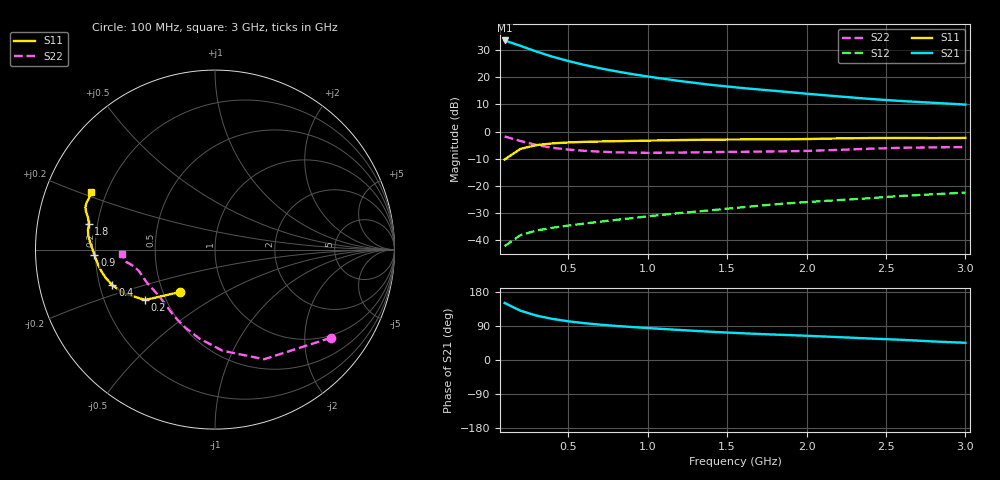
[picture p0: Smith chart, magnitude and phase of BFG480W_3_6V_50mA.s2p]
! Filename: 3_650BFG480.001
! Title: BFG480W
! Bias: Vce=3.6V; Ic=50mA
! Company: Philips Semiconductors NL
! User: Quality&Reliability T&D
! Measure time: 10 Nov 1999 / 11:59:58
#  MHz  S  MA  R 50
! Freq  S11  S21  S12  S22  :
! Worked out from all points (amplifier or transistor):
!   20 points, 100 MHz to 3 GHz, reference 50 ohm
!   highest |S21| = 33.6 dB at 100 MHz (marker M1)
!   |S21| within 3 dB of that: start of sweep to 247.9 MHz
!   unconditionally stable (mu >= 1): 955.4 MHz to end of sweep
!   at 400 MHz: K = 0.64, MSG = 31.6 dB, |S12| = -35.5 dB
!   at 1.2 GHz: K = 1.05, MAG = 23.0 dB, |S12| = -30.1 dB
!   at 3 GHz: K = 1.06, MAG = 14.7 dB, |S12| = -22.5 dB
!   S11 on the Smith chart (normalised r, x): 100 MHz: 0.61, -0.32; 200 MHz: 0.38, -0.28; 400 MHz: 0.25, -0.16; 900 MHz: 0.20, -0.02; 1.8 GHz: 0.17, +0.10; 3 GHz: 0.14, +0.22
100  0.305 -129.3  48.12 150.4  0.007661 67.0  0.8119 -37.2
200  0.4795 -144.2  38.24 130.1  0.01226 56.9  0.6694 -65.8
300  0.5623 -154.2  30.04 117.2  0.01486 53.2  0.5653 -85.7
400  0.6047 -160.8  24.19 108.5  0.01674 52.6  0.503 -100.0
500  0.6298 -165.6  20.09 102.2  0.01837 53.7  0.4654 -110.7
600  0.6453 -169.4  17.05 97.2  0.01996 55.4  0.4416 -118.8
700  0.6558 -172.4  14.78 93.3  0.02166 57.6  0.4255 -125.2
800  0.6641 -175.1  12.99 89.9  0.0234 59.5  0.4147 -130.6
900  0.6725 -177.5  11.55 87.0  0.0252 61.6  0.4083 -135.2
1000  0.6809 -179.7  10.39 84.3  0.02722 63.2  0.4057 -139.4
1200  0.6974 176.7  8.594 79.3  0.03124 66.0  0.4092 -146.3
1400  0.7097 174.0  7.285 74.4  0.03534 68.0  0.4176 -151.5
1600  0.716 171.4  6.354 70.5  0.04017 69.7  0.4234 -155.4
1800  0.7171 168.6  5.65 67.0  0.0454 71.0  0.4298 -159.4
2000  0.7279 166.1  5.002 64.0  0.04992 72.3  0.4395 -164.0
2200  0.7477 163.8  4.465 60.4  0.05423 72.7  0.4586 -168.0
2400  0.76 161.9  4.005 56.7  0.05896 72.6  0.4831 -170.7
2600  0.7621 160.2  3.661 53.3  0.06492 72.4  0.5021 -172.3
2800  0.7583 157.9  3.396 48.9  0.06957 71.4  0.5112 -174.3
3000  0.7634 155.2  3.153 45.4  0.07485 70.8  0.5187 -177.4
